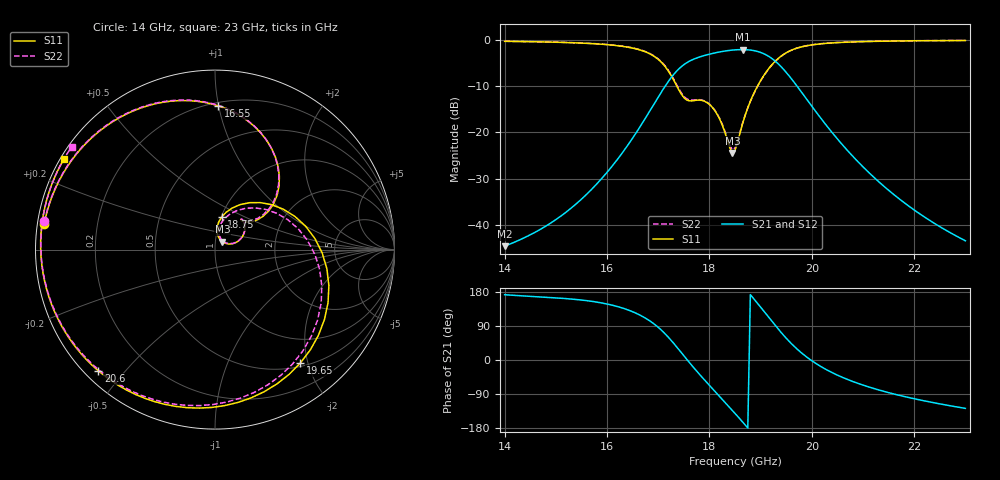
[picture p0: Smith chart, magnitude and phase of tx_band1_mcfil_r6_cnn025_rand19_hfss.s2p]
! Touchstone file exported from HFSS 3D Layout Design 2026.1.0
!  File:  D:/Work/SIM/ADS_AUTO_SIM/projects/RFSOC_RF/TX_Fillter.aedt
!  Generated:  11:19:10 PM Aug 30, 2026
!  Design:  TX_BAND1_MCFIL_R6_CNN025
!  Project:  TX_Fillter
# GHz S MA R 50.000000
! Terminal data exported
! Port[1] = Port1
! Port[2] = Port2
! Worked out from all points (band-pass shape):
!   181 points, 14 GHz to 23 GHz, reference 50 ohm
!   highest |S21| = -2.12 dB at 18.65 GHz (marker M1); lowest = -44.5 dB at 14 GHz (marker M2)
!   |S21| within 3 dB of the highest: 17.53 GHz to 19.34 GHz (1.803 GHz wide, 9.78 % of centre)
!   lowest |S11| = -24.4 dB at 18.45 GHz (marker M3), VSWR 1.13, Z = 54.1 + j4.76 ohm
!   |S11| at or under -10 dB: 17.36 GHz to 18.94 GHz (1.575 GHz wide, 8.68 % of centre)
!   |S22| runs from -23.8 to -0.2 dB; largest |S21 - S12| = 1.3e-13
!   S11 on the Smith chart (normalised r, x): 14 GHz: 0.02, +0.07; 16.55 GHz: 0.22, +1.00; 18.75 GHz: 1.01, +0.38; 19.65 GHz: 0.56, -1.87; 20.6 GHz: 0.04, -0.42; 23 GHz: 0.01, +0.28
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14  0.9623 171.5  0.005948 172.3  0.005948 172.3  0.9631 170.6
15.5  0.9205 133.4  0.01908 158.3  0.01908 158.3  0.9227 133.1
16.55  0.8014 88.7  0.09564 124.5  0.09564 124.5  0.8062 89.2
17  0.6145 56.7  0.2406 86.3  0.2406 86.3  0.6215 57.8
17.35  0.3278 34.7  0.4526 36.4  0.4526 36.4  0.3363 35.9
17.55  0.2252 43.4  0.5619 3.1  0.5619 3.1  0.2317 43.8
17.7  0.2209 49.3  0.6199 -21.3  0.6199 -21.3  0.2247 49.4
17.9  0.2176 41.3  0.6758 -52.0  0.6758 -52.0  0.2197 41.7
18.1  0.1741 26.5  0.7199 -81.5  0.7199 -81.5  0.1758 27.1
18.3  0.1016 18.5  0.7551 -110.9  0.7551 -110.9  0.1043 19.3
18.45  0.06016 46.8  0.7737 -133.2  0.7737 -133.2  0.06492 45.0
18.5  0.06373 65.2  0.7779 -140.7  0.7779 -140.7  0.06818 61.2
18.65  0.1256 84.5  0.783 -163.8  0.783 -163.8  0.127 78.7
18.75  0.1848 78.5  0.7788 -179.5  0.7788 -179.5  0.1845 72.3
18.95  0.3242 53.7  0.7449 147.8  0.7449 147.8  0.3214 46.3
19.15  0.4817 22.6  0.6666 114.0  0.6666 114.0  0.478 14.1
19.4  0.6653 -17.5  0.5126 72.7  0.5126 72.7  0.6629 -26.9
19.65  0.7908 -53.0  0.3508 36.8  0.3508 36.8  0.791 -62.5
20  0.8796 -91.2  0.1921 -2.0  0.1921 -2.0  0.8822 -100.3
20.6  0.9373 -133.9  0.07349 -45.9  0.07349 -45.9  0.9405 -141.8
21.5  0.967 -172.2  0.02383 -86.2  0.02383 -86.2  0.9691 -178.6
23  0.9815 149.1  0.0068 -127.7  0.0068 -127.7  0.9825 144.3
